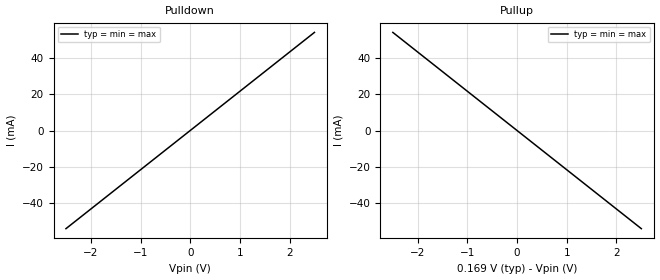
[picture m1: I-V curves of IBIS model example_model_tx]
[IBIS Ver]   5.1
[Disclaimer]
             Example IBIS file that refers to example
             Algorithmic Model.  This file does not
             contain a model for an actual physical
             device.
[File Name] ibis_ami_example_tx.ibs
[Date] March 29, 2018 10:59:00 AM EDT
[File Rev]   0.3
[Source]
[Notes]
[Component] example_device_tx
[Manufacturer]  ANSYS, Inc.
[Package]
R_pkg   0.01m  NA  NA
L_pkg   0.001nH  NA  NA
C_pkg   0.001pF  NA  NA
[Pin] signal_name model_name R_pin L_pin C_pin
  14   example_tx_P   example_model_tx  NA NA NA
  15   example_tx_N   example_model_tx  NA NA NA
[Diff Pin] inv_pin  vdiff tdelay_typ tdelay_min tdelay_max|
   14   15   0.2   NA   NA   NA
| Models and submodels in the file (1): example_model_tx (Output)
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|Model row  3
|model example_model_tx
[Model]  example_model_tx
Model_type  Output
C_comp  64f  64f  64f
Cref =0
[Model Spec]
Vmeas  0.0882  0.0882  0.0882
Vref  0.0882  0.0882  0.0882
[Algorithmic Model]
Executable Windows_Intel7_32 ibis_ami_example_w32.dll ibis_ami_example_tx.ami
Executable Windows_Intel10_64 ibis_ami_example_w64.dll ibis_ami_example_tx.ami
Executable Linux_Intel10_32 ibis_ami_example_l32.so ibis_ami_example_tx.ami
Executable Linux_Intel10_64 ibis_ami_example_l64.so ibis_ami_example_tx.ami
[End Algorithmic Model]
[Temperature Range]  85.0000  85.0000  85.0000
[Voltage Range]  0.1694  0.1694  0.1694
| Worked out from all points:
|   slope of the pulldown table from 0 to 0.025 V, typ, clamps not added: 46.5 ohm
|   slope of the pullup table from 0 to 0.025 V, typ, clamps not added: 46.5 ohm
[Pulldown]
-2.5V     -53.82mA   -53.82mA   -53.82mA
0V        0A         0A         0A
2.5V      53.82mA    53.82mA    53.82mA
[Pullup]
-2.5V     53.82mA    53.82mA    53.82mA
0V        0A         0A         0A
2.5V      -53.82mA   -53.82mA   -53.82mA
[Ramp]
dV/dt_r  0.052/16.573p  0.052/16.573p  0.052/16.573p
dV/dt_f  0.052/17.251p  0.052/17.251p  0.052/17.251p
